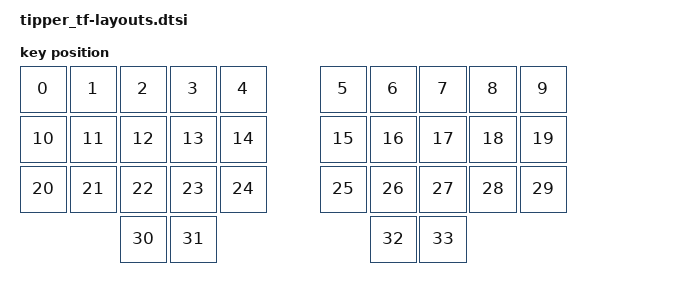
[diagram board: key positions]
/*
 * Copyright (c) 2025
 *
 * SPDX-License-Identifier: MIT
 */

#include <physical_layouts.dtsi>

/ {
    tipper_tf_physical_layout: physical_layout_0 {
        compatible = "zmk,physical-layout";
        display-name = "Tipper TF";

        keys //                      w   h    x    y     rot    rx    ry
            // Left side - Row 0 (top)
            = <&key_physical_attrs 100 100    0    0       0     0     0>
            , <&key_physical_attrs 100 100  100    0       0     0     0>
            , <&key_physical_attrs 100 100  200    0       0     0     0>
            , <&key_physical_attrs 100 100  300    0       0     0     0>
            , <&key_physical_attrs 100 100  400    0       0     0     0>
            // Right side - Row 0 (top)
            , <&key_physical_attrs 100 100  600    0       0     0     0>
            , <&key_physical_attrs 100 100  700    0       0     0     0>
            , <&key_physical_attrs 100 100  800    0       0     0     0>
            , <&key_physical_attrs 100 100  900    0       0     0     0>
            , <&key_physical_attrs 100 100 1000    0       0     0     0>
            // Left side - Row 1 (middle)
            , <&key_physical_attrs 100 100    0  100       0     0     0>
            , <&key_physical_attrs 100 100  100  100       0     0     0>
            , <&key_physical_attrs 100 100  200  100       0     0     0>
            , <&key_physical_attrs 100 100  300  100       0     0     0>
            , <&key_physical_attrs 100 100  400  100       0     0     0>
            // Right side - Row 1 (middle)
            , <&key_physical_attrs 100 100  600  100       0     0     0>
            , <&key_physical_attrs 100 100  700  100       0     0     0>
            , <&key_physical_attrs 100 100  800  100       0     0     0>
            , <&key_physical_attrs 100 100  900  100       0     0     0>
            , <&key_physical_attrs 100 100 1000  100       0     0     0>
            // Left side - Row 2 (bottom)
            , <&key_physical_attrs 100 100    0  200       0     0     0>
            , <&key_physical_attrs 100 100  100  200       0     0     0>
            , <&key_physical_attrs 100 100  200  200       0     0     0>
            , <&key_physical_attrs 100 100  300  200       0     0     0>
            , <&key_physical_attrs 100 100  400  200       0     0     0>
            // Right side - Row 2 (bottom)
            , <&key_physical_attrs 100 100  600  200       0     0     0>
            , <&key_physical_attrs 100 100  700  200       0     0     0>
            , <&key_physical_attrs 100 100  800  200       0     0     0>
            , <&key_physical_attrs 100 100  900  200       0     0     0>
            , <&key_physical_attrs 100 100 1000  200       0     0     0>
            // Thumb keys - Left side
            , <&key_physical_attrs 100 100  200  300       0     0     0>
            , <&key_physical_attrs 100 100  300  300       0     0     0>
            // Thumb keys - Right side
            , <&key_physical_attrs 100 100  700  300       0     0     0>
            , <&key_physical_attrs 100 100  800  300       0     0     0>
            ;
    };
};
